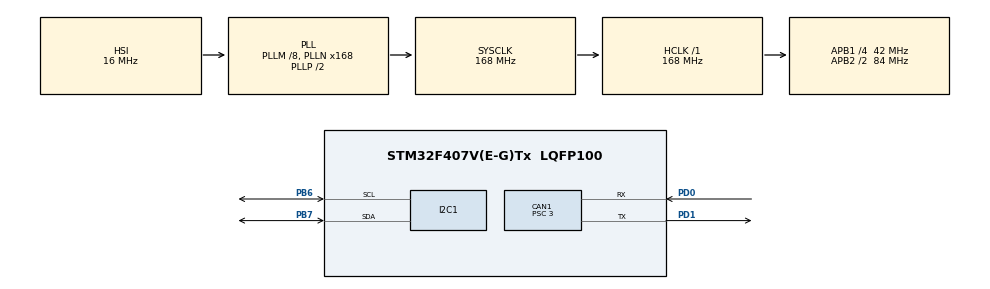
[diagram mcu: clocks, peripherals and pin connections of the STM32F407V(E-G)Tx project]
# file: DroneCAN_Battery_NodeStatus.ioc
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CAN1.BS1=CAN_BS1_10TQ
CAN1.BS2=CAN_BS2_3TQ
CAN1.CalculateBaudRate=1000000
CAN1.CalculateTimeBit=1000
CAN1.CalculateTimeQuantum=71.42857142857143
CAN1.Prescaler=3
I2C1.I2C_Mode=I2C_Fast
Mcu.Family=STM32F4
Mcu.Name=STM32F407V(E-G)Tx
Mcu.Package=LQFP100
NVIC.CAN1_RX0_IRQn=true\:0\:0\:false\:false\:true\:true\:true\:true
NVIC.PriorityGroup=NVIC_PRIORITYGROUP_4
PA13.Mode=Serial_Wire
PA13.Signal=SYS_JTMS-SWDIO
PA14.Mode=Serial_Wire
PA14.Signal=SYS_JTCK-SWCLK
PB6.GPIO_Pu=GPIO_PULLUP
PB6.Mode=I2C
PB6.Signal=I2C1_SCL
PB7.GPIO_Pu=GPIO_PULLUP
PB7.Mode=I2C
PB7.Signal=I2C1_SDA
PD0.GPIO_PuPd=GPIO_PULLUP
PD0.Mode=CAN_Activate
PD0.Signal=CAN1_RX
PD1.Mode=CAN_Activate
PD1.Signal=CAN1_TX
PH0-OSC_IN.Mode=HSE-External-Oscillator
PH0-OSC_IN.Signal=RCC_OSC_IN
PH1-OSC_OUT.Mode=HSE-External-Oscillator
PH1-OSC_OUT.Signal=RCC_OSC_OUT
ProjectManager.HeapSize=0x200
ProjectManager.StackSize=0x400
ProjectManager.TargetToolchain=MDK-ARM V5.32
RCC.48MHZClocksFreq_Value=84000000
RCC.AHBFreq_Value=168000000
RCC.APB1CLKDivider=RCC_HCLK_DIV4
RCC.APB1Freq_Value=42000000
RCC.APB1TimFreq_Value=84000000
RCC.APB2CLKDivider=RCC_HCLK_DIV2
RCC.APB2Freq_Value=84000000
RCC.APB2TimFreq_Value=168000000
RCC.CortexFreq_Value=168000000
RCC.HCLKFreq_Value=168000000
RCC.HSE_VALUE=8000000
RCC.HSI_VALUE=16000000
RCC.LSE_VALUE=32768
RCC.PLLM=8
RCC.PLLN=168
RCC.SYSCLKFreq_VALUE=168000000
RCC.SYSCLKSource=RCC_SYSCLKSOURCE_PLLCLK
RCC.VCOOutputFreq_Value=336000000
board=custom

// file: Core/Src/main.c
/* USER CODE BEGIN Header */
/**
  ******************************************************************************
  * @file           : main.c
  * @brief          : Main program body
  ******************************************************************************
  * @attention
  *
  * Copyright (c) 2025 STMicroelectronics.
  * All rights reserved.
  *
  * This software is licensed under terms that can be found in the LICENSE file
  * in the root directory of this software component.
  * If no LICENSE file comes with this software, it is provided AS-IS.
  *
  ******************************************************************************
  */
/* USER CODE END Header */
#include "main.h"

/* USER CODE BEGIN Includes */
#include "canard.h"
#include "canard_internals.h"
#include "string.h"
#include "uavcan.protocol.NodeStatus.h"
#include "uavcan.protocol.GetNodeInfo_res.h"
#include <uavcan.protocol.SoftwareVersion.h>
#include <uavcan.protocol.HardwareVersion.h>
#include <uavcan.equipment.power.BatteryInfo.h>
#include <uavcan.protocol.debug.KeyValue.h>
#include "INA226.h"
/* USER CODE END Includes */

CAN_HandleTypeDef hcan1;

I2C_HandleTypeDef hi2c1;

void SystemClock_Config(void);
static void MX_GPIO_Init(void);
static void MX_CAN1_Init(void);
static void MX_I2C1_Init(void);
/* USER CODE BEGIN PFP */
uint8_t canard_memory_pool[1024];
CanardInstance canard;
INA226_Data_t ina_data;
uint16_t count = 0;
uint16_t count1 = 0;
uint16_t hb_sent_count = 0;
uint16_t batt_sent_count = 0;
/* USER CODE END PFP */

/* USER CODE BEGIN 0 */
void HAL_CAN_RxFifo0MsgPendingCallback(CAN_HandleTypeDef *hcan)
{
		count1++;
    CAN_RxHeaderTypeDef rxHeader;
    uint8_t rxData[8];

    if (HAL_CAN_GetRxMessage(hcan, CAN_RX_FIFO0, &rxHeader, rxData) == HAL_OK) {
        CanardCANFrame frame;
        frame.id = rxHeader.ExtId;
        if (rxHeader.IDE == CAN_ID_EXT)
            frame.id |= (1UL << 31);

        frame.data_len = rxHeader.DLC;
        memcpy(frame.data, rxData, rxHeader.DLC);
        frame.iface_id = 0;

        canardHandleRxFrame(&canard, &frame, HAL_GetTick() * 1000ULL);
    }
}
void send_debug_key_value(CanardInstance* ins, uint8_t* transfer_id, const char* key, float value)
{
    struct uavcan_protocol_debug_KeyValue msg;
    msg.value = value;
    msg.key.len = strlen(key);
    memcpy(msg.key.data, key, msg.key.len);

    uint8_t buffer[UAVCAN_PROTOCOL_DEBUG_KEYVALUE_MAX_SIZE];
    uint32_t len = uavcan_protocol_debug_KeyValue_encode(&msg, buffer);

    canardBroadcast(
        ins,
        UAVCAN_PROTOCOL_DEBUG_KEYVALUE_SIGNATURE,
        UAVCAN_PROTOCOL_DEBUG_KEYVALUE_ID,
        transfer_id,
        CANARD_TRANSFER_PRIORITY_LOW,
        buffer,
        len
    );
}
void send_heartbeat(CanardInstance* ins, uint8_t* transfer_id, uint32_t uptime_sec)
{
		static uint16_t prev_hb_count = 0;
    static uint16_t prev_batt_count = 0;
		static uint8_t kv_transfer_id = 0;
    struct uavcan_protocol_NodeStatus hb;
    hb.uptime_sec = uptime_sec;
    hb.health = UAVCAN_PROTOCOL_NODESTATUS_HEALTH_OK;
    hb.mode = UAVCAN_PROTOCOL_NODESTATUS_MODE_OPERATIONAL;
    hb.sub_mode = 0;
	  uint8_t hb_rate = hb_sent_count - prev_hb_count;
    uint8_t batt_rate = batt_sent_count - prev_batt_count;
    prev_hb_count = hb_sent_count;
    prev_batt_count = batt_sent_count;
    hb.vendor_specific_status_code = (hb_rate << 8) | batt_rate;
		send_debug_key_value(ins, &kv_transfer_id, "heartbeat rate", (float)hb_rate);
    send_debug_key_value(ins, &kv_transfer_id, "batteryinfo rate", (float)batt_rate);
    uint8_t buffer[UAVCAN_PROTOCOL_NODESTATUS_MAX_SIZE];
    uint32_t len = uavcan_protocol_NodeStatus_encode(&hb, buffer
#if CANARD_ENABLE_TAO_OPTION
        , true
#endif
    );

    canardBroadcast(
        ins,
        UAVCAN_PROTOCOL_NODESTATUS_SIGNATURE,
        UAVCAN_PROTOCOL_NODESTATUS_ID,
        transfer_id,
        CANARD_TRANSFER_PRIORITY_LOW,
        buffer,
        len
    );
}

bool should_accept(const CanardInstance* ins, uint64_t* out_sig, uint16_t data_type_id,
                   CanardTransferType transfer_type, uint8_t source_node_id) {
    if (data_type_id == 1 && transfer_type == CanardTransferTypeRequest) {
        *out_sig = UAVCAN_PROTOCOL_GETNODEINFO_RESPONSE_SIGNATURE;
        return true;
    }
    return false;
}

void on_reception(CanardInstance* ins, CanardRxTransfer* transfer)
{
    if (transfer->data_type_id == UAVCAN_PROTOCOL_GETNODEINFO_RESPONSE_ID && transfer->transfer_type == CanardTransferTypeRequest) {
				count++;
				struct uavcan_protocol_GetNodeInfoResponse resp;
				memset(&resp, 0, sizeof(resp));
				// NodeStatus
				resp.status.uptime_sec = HAL_GetTick()/1000;
				resp.status.health = UAVCAN_PROTOCOL_NODESTATUS_HEALTH_OK;
				resp.status.mode = UAVCAN_PROTOCOL_NODESTATUS_MODE_OPERATIONAL;
				resp.status.sub_mode = 0;
				resp.status.vendor_specific_status_code = 0;

				// SoftwareVersion
				resp.software_version.major = 1;
				resp.software_version.minor = 0;
				resp.software_version.vcs_commit = 0;
				resp.software_version.image_crc = 0;
				resp.software_version.optional_field_flags = 0;

				// HardwareVersion
				resp.hardware_version.major = 1;
				resp.hardware_version.minor = 0;
				memset(resp.hardware_version.unique_id, 0, sizeof(resp.hardware_version.unique_id));
				resp.hardware_version.certificate_of_authenticity.len = 0;

				// Name field
				const char* node_name = "org.hypmotion.hypmotion";
				resp.name.len = strlen(node_name);
				memcpy(resp.name.data, node_name, resp.name.len);

				uint8_t buffer[UAVCAN_PROTOCOL_GETNODEINFO_RESPONSE_MAX_SIZE];
				memset(buffer, 0, sizeof(buffer));
				uint32_t len = uavcan_protocol_GetNodeInfoResponse_encode(&resp, buffer
#if CANARD_ENABLE_TAO_OPTION
						, true
#endif
				);

				uint8_t tid = transfer->transfer_id;
				canardRequestOrRespond(
						ins,
						transfer->source_node_id,
						UAVCAN_PROTOCOL_GETNODEINFO_RESPONSE_SIGNATURE,
						UAVCAN_PROTOCOL_GETNODEINFO_RESPONSE_ID,
						&tid,
						CANARD_TRANSFER_PRIORITY_LOW,
						CanardResponse,
						buffer,
						len
				);

    }
}
void send_batteryinfo(CanardInstance* ins, uint8_t* transfer_id)
{
    struct uavcan_equipment_power_BatteryInfo msg;
    memset(&msg, 0, sizeof(msg));

		msg.voltage = (float)ina_data.bus_voltage * 1.25f / 1000.0f;
		msg.current = (float)ina_data.current * 1.0f / 1000.0f;
    msg.temperature = 273.0f + 30.0f;

    msg.battery_id = 1;
    msg.model_name.len = strlen("HYPMOTION_BATT");
    memcpy(msg.model_name.data, "HYPMOTION_BATT", msg.model_name.len);

    uint8_t buffer[UAVCAN_EQUIPMENT_POWER_BATTERYINFO_MAX_SIZE];
    uint32_t len = uavcan_equipment_power_BatteryInfo_encode(&msg, buffer);

    canardBroadcast(
        ins,
        UAVCAN_EQUIPMENT_POWER_BATTERYINFO_SIGNATURE,
        UAVCAN_EQUIPMENT_POWER_BATTERYINFO_ID,
        transfer_id,
        CANARD_TRANSFER_PRIORITY_LOW,
        buffer,
        len
    );
}

void tx_frame(void)
{
	CanardCANFrame* txf = NULL;
	while ((txf = canardPeekTxQueue(&canard)) != NULL)
	{
			if (HAL_CAN_GetTxMailboxesFreeLevel(&hcan1) > 0)
			{
					CAN_TxHeaderTypeDef txHeader;
					memset(&txHeader, 0, sizeof(txHeader));
					txHeader.IDE = CAN_ID_EXT;
					txHeader.ExtId = txf->id & 0x1FFFFFFF;
					txHeader.RTR = CAN_RTR_DATA;
					txHeader.DLC = txf->data_len;
					txHeader.TransmitGlobalTime = DISABLE;

					uint32_t txMailbox;
					if (HAL_CAN_AddTxMessage(&hcan1, &txHeader, (uint8_t*)txf->data, &txMailbox) == HAL_OK)
					{
							canardPopTxQueue(&canard);
					}
					else
					{
							break;
					}
			}
			else
			{
					break;
			}
	}
	HAL_Delay(1);
}

void config_filter(void)
{
		//------------filer-------------//
	CAN_FilterTypeDef sFilterConfig;
	sFilterConfig.FilterBank = 0;
	sFilterConfig.FilterMode = CAN_FILTERMODE_IDMASK;
	sFilterConfig.FilterScale = CAN_FILTERSCALE_32BIT;
	sFilterConfig.FilterIdHigh = 0;
	sFilterConfig.FilterIdLow  = 0;
	sFilterConfig.FilterMaskIdHigh = 0;
	sFilterConfig.FilterMaskIdLow  = 0;
	sFilterConfig.FilterFIFOAssignment = CAN_FILTER_FIFO0;
	sFilterConfig.FilterActivation = ENABLE;
	HAL_CAN_ConfigFilter(&hcan1, &sFilterConfig);
}
/* USER CODE END 0 */

int main(void)
{

  /* MCU Configuration--------------------------------------------------------*/

  /* Reset of all peripherals, Initializes the Flash interface and the Systick. */
  HAL_Init();

  /* Configure the system clock */
  SystemClock_Config();

  /* Initialize all configured peripherals */
  MX_GPIO_Init();
  MX_CAN1_Init();
  MX_I2C1_Init();
  /* USER CODE BEGIN 2 */
	HAL_CAN_Start(&hcan1);
	HAL_CAN_ActivateNotification(&hcan1, CAN_IT_RX_FIFO0_MSG_PENDING);
	canardInit(&canard,
           canard_memory_pool,
           sizeof(canard_memory_pool),
           on_reception,
           should_accept,
           NULL);
	canardSetLocalNodeID(&canard, 51);
	INA226_Init(&hi2c1);
	config_filter();
	INA226_WriteCalibration(2048);
	//-------------transfer_id--------------------//
	static uint8_t heartbeat_transfer_id = 0;
	static uint8_t batteryinfo_transfer_id = 0;

	//-----------------get_tick_time-----------//
  /* USER CODE END 2 */

  /* Infinite loop */
  /* USER CODE BEGIN WHILE */
  while (1)
  {
		static uint32_t last_heartbeat_tick = 0;
		static uint32_t last_battinfo_tick = 0;
		if (HAL_GetTick() - last_heartbeat_tick >= 1000)
		{
				hb_sent_count++;
				last_heartbeat_tick = HAL_GetTick();
				send_heartbeat(&canard, &heartbeat_transfer_id, HAL_GetTick()/1000);
		}
		if (HAL_GetTick() - last_battinfo_tick >= 100)
		{
				batt_sent_count++;
				last_battinfo_tick = HAL_GetTick();
				send_batteryinfo(&canard, &batteryinfo_transfer_id);
		}
		tx_frame();
		INA226_ReadAll(&ina_data);
    /* USER CODE END WHILE */

  }
}

void SystemClock_Config(void)
{
  RCC_OscInitTypeDef RCC_OscInitStruct = {0};
  RCC_ClkInitTypeDef RCC_ClkInitStruct = {0};

  /** Configure the main internal regulator output voltage
  */
  __HAL_RCC_PWR_CLK_ENABLE();
  __HAL_PWR_VOLTAGESCALING_CONFIG(PWR_REGULATOR_VOLTAGE_SCALE1);

  /** Initializes the RCC Oscillators according to the specified parameters
  * in the RCC_OscInitTypeDef structure.
  */
  RCC_OscInitStruct.OscillatorType = RCC_OSCILLATORTYPE_HSI;
  RCC_OscInitStruct.HSIState = RCC_HSI_ON;
  RCC_OscInitStruct.HSICalibrationValue = RCC_HSICALIBRATION_DEFAULT;
  RCC_OscInitStruct.PLL.PLLState = RCC_PLL_ON;
  RCC_OscInitStruct.PLL.PLLSource = RCC_PLLSOURCE_HSI;
  RCC_OscInitStruct.PLL.PLLM = 8;
  RCC_OscInitStruct.PLL.PLLN = 168;
  RCC_OscInitStruct.PLL.PLLP = RCC_PLLP_DIV2;
  RCC_OscInitStruct.PLL.PLLQ = 4;
  if (HAL_RCC_OscConfig(&RCC_OscInitStruct) != HAL_OK)
  {
    Error_Handler();
  }

  /** Initializes the CPU, AHB and APB buses clocks
  */
  RCC_ClkInitStruct.ClockType = RCC_CLOCKTYPE_HCLK|RCC_CLOCKTYPE_SYSCLK
                              |RCC_CLOCKTYPE_PCLK1|RCC_CLOCKTYPE_PCLK2;
  RCC_ClkInitStruct.SYSCLKSource = RCC_SYSCLKSOURCE_PLLCLK;
  RCC_ClkInitStruct.AHBCLKDivider = RCC_SYSCLK_DIV1;
  RCC_ClkInitStruct.APB1CLKDivider = RCC_HCLK_DIV4;
  RCC_ClkInitStruct.APB2CLKDivider = RCC_HCLK_DIV2;

  if (HAL_RCC_ClockConfig(&RCC_ClkInitStruct, FLASH_LATENCY_5) != HAL_OK)
  {
    Error_Handler();
  }
}

static void MX_CAN1_Init(void)
{

  hcan1.Instance = CAN1;
  hcan1.Init.Prescaler = 3;
  hcan1.Init.Mode = CAN_MODE_NORMAL;
  hcan1.Init.SyncJumpWidth = CAN_SJW_1TQ;
  hcan1.Init.TimeSeg1 = CAN_BS1_10TQ;
  hcan1.Init.TimeSeg2 = CAN_BS2_3TQ;
  hcan1.Init.TimeTriggeredMode = DISABLE;
  hcan1.Init.AutoBusOff = DISABLE;
  hcan1.Init.AutoWakeUp = DISABLE;
  hcan1.Init.AutoRetransmission = DISABLE;
  hcan1.Init.ReceiveFifoLocked = DISABLE;
  hcan1.Init.TransmitFifoPriority = DISABLE;
  if (HAL_CAN_Init(&hcan1) != HAL_OK)
  {
    Error_Handler();
  }

}

static void MX_I2C1_Init(void)
{

  hi2c1.Instance = I2C1;
  hi2c1.Init.ClockSpeed = 400000;
  hi2c1.Init.DutyCycle = I2C_DUTYCYCLE_2;
  hi2c1.Init.OwnAddress1 = 0;
  hi2c1.Init.AddressingMode = I2C_ADDRESSINGMODE_7BIT;
  hi2c1.Init.DualAddressMode = I2C_DUALADDRESS_DISABLE;
  hi2c1.Init.OwnAddress2 = 0;
  hi2c1.Init.GeneralCallMode = I2C_GENERALCALL_DISABLE;
  hi2c1.Init.NoStretchMode = I2C_NOSTRETCH_DISABLE;
  if (HAL_I2C_Init(&hi2c1) != HAL_OK)
  {
    Error_Handler();
  }

}

static void MX_GPIO_Init(void)
{

  /* GPIO Ports Clock Enable */
  __HAL_RCC_GPIOH_CLK_ENABLE();
  __HAL_RCC_GPIOA_CLK_ENABLE();
  __HAL_RCC_GPIOD_CLK_ENABLE();
  __HAL_RCC_GPIOB_CLK_ENABLE();

}

void Error_Handler(void)
{
  __disable_irq();
  while (1)
  {
  }
}
